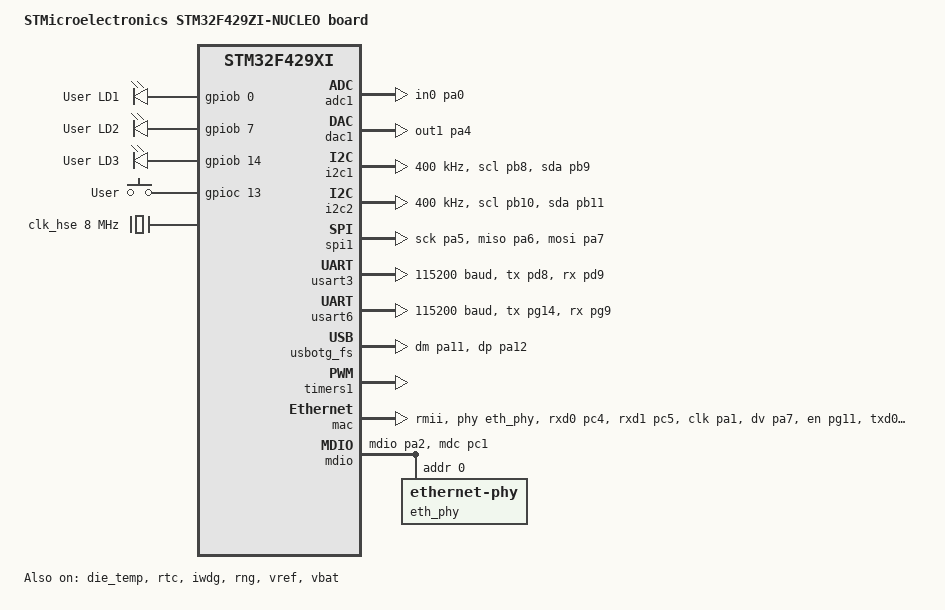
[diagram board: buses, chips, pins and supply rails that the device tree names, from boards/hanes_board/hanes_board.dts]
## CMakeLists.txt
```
cmake_minimum_required(VERSION 3.20.0)

list(APPEND BOARD_ROOT ${CMAKE_CURRENT_SOURCE_DIR})

set(CMAKE_EXPORT_COMPILE_COMMANDS ON)

find_package(Zephyr REQUIRED)
project(my_zephyr_app)

add_subdirectory(drivers/subsys/hanes_driver)

target_sources(app PRIVATE src/main.cpp)
```

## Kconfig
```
rsource "drivers/subsys/hanes_driver/Kconfig"

menuconfig LED_SUBSYSTEM
    bool "LED Subsystem"
    default y

    if LED_SUBSYSTEM
        choice
            prompt "LED blink sleep time"
            default BLINK_SLEEP_PERIOD_1000MS

        config BLINK_SLEEP_PERIOD_250MS
            bool "250ms (Very Fast)"

        config BLINK_SLEEP_PERIOD_500MS
            bool "500ms (Fast)"

        config BLINK_SLEEP_PERIOD_1000MS
            bool "1s (Medium)"

        config BLINK_SLEEP_PERIOD_5000MS
            bool "5s (Low)"
        endchoice

        config BLINK_SLEEP_PERIOD_MS
            int
            default 5000 if BLINK_SLEEP_PERIOD_5000MS
            default 1000 if BLINK_SLEEP_PERIOD_1000MS
            default 500  if BLINK_SLEEP_PERIOD_500MS
            default 250  if BLINK_SLEEP_PERIOD_250MS
            default 0

        config APP_HEARTBEAT_PERIOD_MS
            int "Led hearbeat period (ms)"
            range 100 2000
            default 500
            help
                APP led hearbeat period in milisecond with range of 100 to 2000

        menuconfig ADVANCED_LED_SETTINGS
            bool "Advanced LED settings"

            if ADVANCED_LED_SETTINGS
                config LED_BRIGHTNESS
                    int "LED brightness (0-100)"
                    range 0 100
                    default 100

                config LED_FADE_DURATION
                    int "LED fade duration (ms)"
                    range 0 5000
                    default 500

                menu "Expert settings"
                    visible if ADVANCED_LED_SETTINGS

                config ENABLE_LED_DEBUGGING
                    bool "Enable LED debugging"

                config CUSTOM_BLINK_PATTERN
                    bool "Custom blink pattern"
                endmenu
            endif # ADVANCED_LED_SETTINGS

    endif # LED_SUBSYSTEM


menu "Zephyr configuration"
source "Kconfig.zephyr"
endmenu
```

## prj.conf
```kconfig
CONFIG_GPIO=y
CONFIG_SENSOR=y
CONFIG_LOG=y

# console
CONFIG_SERIAL=y
CONFIG_CONSOLE=y
CONFIG_UART_CONSOLE=y

# shell
CONFIG_SHELL=y
CONFIG_SHELL_BACKEND_SERIAL=y
CONFIG_SENSOR_SHELL=y

CONFIG_BLINK_SLEEP_PERIOD_1000MS=y
CONFIG_ADVANCED_LED_SETTINGS=n
CONFIG_LED_BRIGHTNESS=100
CONFIG_LED_FADE_DURATION=500

CONFIG_HANES_DRIVER=y
CONFIG_HANES_DRIVER_MESSAGE_MAX_LEN=30
```

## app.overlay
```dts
/{
    ld2_sensor: led-sensor {
       compatible = "hanes,driver";
       status = "okay";
       gpios = <&gpiob 7 GPIO_ACTIVE_HIGH>;
    };

    aliases {
        app-led = &green_led_1;
        hanes-led-sensor = &ld2_sensor;
    };
};
```

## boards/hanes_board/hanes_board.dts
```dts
/*
 * Copyright (c) 2017 Linaro Limited
 *
 * SPDX-License-Identifier: Apache-2.0
 */

/dts-v1/;
#include <st/f4/stm32f429Xi.dtsi>
#include <st/f4/stm32f429zitx-pinctrl.dtsi>
#include "arduino_r3_connector.dtsi"
#include <zephyr/dt-bindings/input/input-event-codes.h>

/ {
	model = "STMicroelectronics STM32F429ZI-NUCLEO board";
	compatible = "zephyr-course,hanes_board";

	chosen {
		zephyr,console = &usart3;
		zephyr,shell-uart = &usart3;
		zephyr,sram = &sram0;
		zephyr,flash = &flash0;
		zephyr,ccm = &ccm0;
		zephyr,code-partition = &slot0_partition;
	};

	leds: leds {
		compatible = "gpio-leds";

		green_led_1: led_1 {
			gpios = <&gpiob 0 GPIO_ACTIVE_HIGH>;
			label = "User LD1";
		};

		blue_led_1: led_2 {
			gpios = <&gpiob 7 GPIO_ACTIVE_HIGH>;
			label = "User LD2";
		};

		red_led_1: led_3 {
			gpios = <&gpiob 14 GPIO_ACTIVE_HIGH>;
			label = "User LD3";
		};
	};

	gpio_keys {
		compatible = "gpio-keys";

		user_button: button {
			label = "User";
			gpios = <&gpioc 13 GPIO_ACTIVE_HIGH>;
			zephyr,code = <INPUT_KEY_0>;
		};
	};

	aliases {
		led0 = &green_led_1;
		led1 = &blue_led_1;
		led2 = &red_led_1;
		sw0 = &user_button;
		watchdog0 = &iwdg;
		die-temp0 = &die_temp;
		volt-sensor0 = &vref;
		volt-sensor1 = &vbat;
	};
};

&clk_lsi {
	status = "okay";
};

&clk_hse {
	hse-bypass;
	clock-frequency = <DT_FREQ_M(8)>; /* STLink 8MHz clock */
	status = "okay";
};

&pll {
	div-m = <8>;
	mul-n = <336>;
	div-p = <2>;
	div-q = <7>;
	clocks = <&clk_hse>;
	status = "okay";
};

&rcc {
	clocks = <&pll>;
	clock-frequency = <DT_FREQ_M(168)>; /* highest value to get a precise USB clock */
	ahb-prescaler = <1>;
	apb1-prescaler = <4>;
	apb2-prescaler = <2>;
};

&adc1 {
	pinctrl-0 = <&adc1_in0_pa0>;
	pinctrl-names = "default";
	st,adc-clock-source = "SYNC";
	st,adc-prescaler = <2>;
	status = "okay";
};

&die_temp {
	status = "okay";
};

&dac1 {
	status = "okay";
	pinctrl-0 = <&dac_out1_pa4>;
	pinctrl-names = "default";
};

&i2c1 {
	pinctrl-0 = <&i2c1_scl_pb8 &i2c1_sda_pb9>;
	pinctrl-names = "default";
	status = "okay";
	clock-frequency = <I2C_BITRATE_FAST>;
};

&i2c2 {
	pinctrl-0 = <&i2c2_scl_pb10 &i2c2_sda_pb11>;
	pinctrl-names = "default";
	status = "okay";
	clock-frequency = <I2C_BITRATE_FAST>;
};

&spi1 {
	pinctrl-0 = <&spi1_sck_pa5 &spi1_miso_pa6 &spi1_mosi_pa7>;
	pinctrl-names = "default";
	cs-gpios = <&gpiod 14 (GPIO_ACTIVE_LOW | GPIO_PULL_UP)>;
	status = "okay";
};

&usart3 {
	pinctrl-0 = <&usart3_tx_pd8 &usart3_rx_pd9>;
	pinctrl-names = "default";
	current-speed = <115200>;
	status = "okay";
};
&usart6 {
	pinctrl-0 = <&usart6_tx_pg14 &usart6_rx_pg9>;
	pinctrl-names = "default";
	current-speed = <115200>;
	status = "okay";
};

zephyr_udc0: &usbotg_fs {
	pinctrl-0 = <&usb_otg_fs_dm_pa11 &usb_otg_fs_dp_pa12>;
	pinctrl-names = "default";
	status = "okay";
};

&timers1 {
	st,prescaler = <10000>;
	status = "okay";

	pwm1: pwm {
		status = "okay";
		pinctrl-0 = <&tim1_ch3_pe13>;
		pinctrl-names = "default";
	};
};

&rtc {
	clocks = <&rcc STM32_CLOCK_BUS_APB1 0x10000000>,
		 <&rcc STM32_SRC_LSI RTC_SEL(2)>;
	status = "okay";
};

&iwdg {
	status = "okay";
};

&rng {
	status = "okay";
};

&dma2 {
	status = "okay";
};

&mac {
	status = "okay";
	pinctrl-0 = <&eth_rxd0_pc4
		     &eth_rxd1_pc5
		     &eth_ref_clk_pa1
		     &eth_crs_dv_pa7
		     &eth_tx_en_pg11
		     &eth_txd0_pg13
		     &eth_txd1_pb13>;
	pinctrl-names = "default";
	phy-connection-type = "rmii";
	phy-handle = <&eth_phy>;
};

&mdio {
	status = "okay";
	pinctrl-0 = <&eth_mdio_pa2 &eth_mdc_pc1>;
	pinctrl-names = "default";

	eth_phy: ethernet-phy@0 {
		compatible = "ethernet-phy";
		reg = <0x00>;
	};
};

&flash0 {
	partitions {
		compatible = "fixed-partitions";
		#address-cells = <1>;
		#size-cells = <1>;

		/* 32KB for bootloader */
		boot_partition: partition@0 {
			label = "mcuboot";
			reg = <0x00000000 DT_SIZE_K(32)>;
			read-only;
		};

		/*
		 * nvs subsystem requires 2 sectors with a max total of 32K
		 * On F4 series, the only option is to use the following
		 * partition, which is compatible with mcuboot usage.
		 * Keep it commented in order it is not used by CI.
		 *
		 * storage_partition: partition@8000 {
		 *	label = "storage";
		 *	reg = <0x0008000 DT_SIZE_K(32)>;
		 * };
		 */

		/* application image slot: 256KB */
		slot0_partition: partition@20000 {
			label = "image-0";
			reg = <0x00020000 DT_SIZE_K(256)>;
		};

		/* backup slot: 256KB */
		slot1_partition: partition@60000 {
			label = "image-1";
			reg = <0x00060000 DT_SIZE_K(256)>;
		};

		/* swap slot: 128KB */
		scratch_partition: partition@a0000 {
			label = "image-scratch";
			reg = <0x000a0000 DT_SIZE_K(128)>;
		};
	};
};

&vref {
	status = "okay";
};

&vbat {
	status = "okay";
};
```

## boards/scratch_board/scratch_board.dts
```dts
/*
 * Copyright (c) 2017 Linaro Limited
 *
 * SPDX-License-Identifier: Apache-2.0
 */

/dts-v1/;
#include <st/f4/stm32f429Xi.dtsi>
#include <st/f4/stm32f429zitx-pinctrl.dtsi>

/ {
	model = "STMicroelectronics STM32F429ZI-NUCLEO board";
	compatible = "zephyr-course,scratch_board";

	chosen {
		zephyr,console = &usart3;
		zephyr,shell-uart = &usart3;
		zephyr,sram = &sram0;
		zephyr,flash = &flash0;
		zephyr,ccm = &ccm0;
		zephyr,code-partition = &slot0_partition;
	};

	ld2_sensor: led-sensor {
        compatible = "hanes,driver";
        status = "okay";
        gpios = <&gpiob 7 GPIO_ACTIVE_HIGH>;
    };

	leds: leds {
		compatible = "gpio-leds";

		green_led_1: led_1 {
			gpios = <&gpiob 0 GPIO_ACTIVE_HIGH>;
			label = "User LD1";
		};

		blue_led_1: led_2 {
			gpios = <&gpiob 7 GPIO_ACTIVE_HIGH>;
			label = "User LD2";
		};

		red_led_1: led_3 {
			gpios = <&gpiob 14 GPIO_ACTIVE_HIGH>;
			label = "User LD3";
		};
	};

	aliases {
		led0 = &green_led_1;
		led1 = &blue_led_1;
		led2 = &red_led_1;
		hanes-led-sensor = &ld2_sensor;
	};
};

&clk_lsi {
	status = "okay";
};

&clk_hse {
	hse-bypass;
	clock-frequency = <DT_FREQ_M(8)>; /* STLink 8MHz clock */
	status = "okay";
};

&pll {
	div-m = <8>;
	mul-n = <336>;
	div-p = <2>;
	div-q = <7>;
	clocks = <&clk_hse>;
	status = "okay";
};

&rcc {
	clocks = <&pll>;
	clock-frequency = <DT_FREQ_M(168)>; /* highest value to get a precise USB clock */
	ahb-prescaler = <1>;
	apb1-prescaler = <4>;
	apb2-prescaler = <2>;
};

&usart3 {
	pinctrl-0 = <&usart3_tx_pd8 &usart3_rx_pd9>;
	pinctrl-names = "default";
	current-speed = <115200>;
	status = "okay";
};

&flash0 {
	partitions {
		compatible = "fixed-partitions";
		#address-cells = <1>;
		#size-cells = <1>;

		/* 32KB for bootloader */
		boot_partition: partition@0 {
			label = "mcuboot";
			reg = <0x00000000 DT_SIZE_K(32)>;
			read-only;
		};

		/*
		 * nvs subsystem requires 2 sectors with a max total of 32K
		 * On F4 series, the only option is to use the following
		 * partition, which is compatible with mcuboot usage.
		 * Keep it commented in order it is not used by CI.
		 *
		 * storage_partition: partition@8000 {
		 *	label = "storage";
		 *	reg = <0x0008000 DT_SIZE_K(32)>;
		 * };
		 */

		/* application image slot: 256KB */
		slot0_partition: partition@20000 {
			label = "image-0";
			reg = <0x00020000 DT_SIZE_K(256)>;
		};

		/* backup slot: 256KB */
		slot1_partition: partition@60000 {
			label = "image-1";
			reg = <0x00060000 DT_SIZE_K(256)>;
		};

		/* swap slot: 128KB */
		scratch_partition: partition@a0000 {
			label = "image-scratch";
			reg = <0x000a0000 DT_SIZE_K(128)>;
		};
	};
};
```

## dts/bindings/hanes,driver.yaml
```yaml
description: Simple GPIO-backed LED sensor driver

compatible: "hanes,driver"

include: base.yaml

properties:
    gpios:
        type: phandle-array
        required: true
        description: GPIO used to drive the LED sensor output
```

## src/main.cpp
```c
#include "zephyr/shell/shell_fprintf.h"
#include <zephyr/device.h>
#include <zephyr/drivers/sensor.h>
#include <zephyr/kernel.h>
#include <zephyr/logging/log.h>
#include <zephyr/shell/shell.h>

#include <hanes_driver.h>

#define SLEEP_TIME_MS CONFIG_APP_HEARTBEAT_PERIOD_MS

#define SENSOR_NODE DT_ALIAS(hanes_led_sensor)

static const struct device* led_sensor = DEVICE_DT_GET(SENSOR_NODE);

LOG_MODULE_REGISTER(main, LOG_LEVEL_INF);

/* Fordware declaration */
static int cmd_sensor_fetch(const struct shell *sh, size_t argc, char **argv);
static int cmd_sensor_get(const struct shell *sh, size_t argc, char **argv);
static int cmd_sensor_info(const struct shell *sh, size_t argc, char **argv);
static int cmd_sensor_set_data(const struct shell *sh, size_t argc, char **argv);
static int cmd_sensor_get_data(const struct shell *sh, size_t argc, char **argv);

int main(void)
{
    struct sensor_value state;
    const char *msg;

    LOG_INF("Board name: %s", CONFIG_BOARD);

    while (1)
    {
        k_msleep(SLEEP_TIME_MS);
    }
}


static int cmd_sensor_fetch(const struct shell *sh, size_t argc, char **argv)
{
    UNUSED(argc);
    UNUSED(argv);

    const int err = sensor_sample_fetch(led_sensor);

    if (err < 0)
    {
        shell_fprintf(sh, SHELL_VT100_COLOR_RED, "cmd_sensor_fetch failed (%d)\n", err);
    }

    return err;
}

static int cmd_sensor_get(const struct shell *sh, size_t argc, char **argv)
{
    UNUSED(argc);
    UNUSED(argv);

    struct sensor_value state;
    const int err = sensor_channel_get(led_sensor, SENSOR_CHAN_PROX, &state);

    if (err < 0)
    {
        shell_fprintf(sh, SHELL_VT100_COLOR_RED, "sensor_channel_get failed (%d)\n", err);
    }
    else
    {
        shell_fprintf(sh, SHELL_VT100_COLOR_DEFAULT, "LED state = %d\n", state.val1);
    }

    return err;
}

static int cmd_sensor_info(const struct shell *sh, size_t argc, char **argv)
{
    UNUSED(argc);
    UNUSED(argv);

    shell_fprintf(sh, SHELL_VT100_COLOR_GREEN, "Device name: %s and state is %d\n", DEVICE_DT_NAME(SENSOR_NODE), device_is_ready(led_sensor));

    return 0;
}

static int cmd_sensor_set_data(const struct shell *sh, size_t argc, char **argv)
{
    if (argc < 1)
    {
        shell_error(sh, "Argument missing");
    }

    const int length = strlen(argv[1]);

    if (length >= CONFIG_HANES_DRIVER_MESSAGE_MAX_LEN)
    {
        shell_error(sh, "Message too long");
    }

    hanes_driver_set_message(led_sensor, argv[1]);

    return 0;
}

static int cmd_sensor_get_data(const struct shell *sh, size_t argc, char **argv)
{

    const char *msg;

    hanes_driver_get_message(led_sensor, &msg);
    shell_fprintf(sh, SHELL_VT100_COLOR_DEFAULT, "Device data = %s\n", msg);

    return 0;
}

SHELL_STATIC_SUBCMD_SET_CREATE(
    sub_sensor,
    SHELL_CMD(fetch, NULL, "Turn ON/OFF sensor led",    cmd_sensor_fetch),
    SHELL_CMD(read,  NULL, "Get sensor led state",      cmd_sensor_get),
    SHELL_CMD(info,  NULL, "Get information of device", cmd_sensor_info),
    SHELL_CMD(get,   NULL, "Get the message device",    cmd_sensor_get_data),
    SHELL_CMD_ARG(set, NULL, "Set the message device", cmd_sensor_set_data, 2, 0),
    SHELL_SUBCMD_SET_END
);

SHELL_CMD_REGISTER(sensor, &sub_sensor, "Sensor commands", NULL);
```
